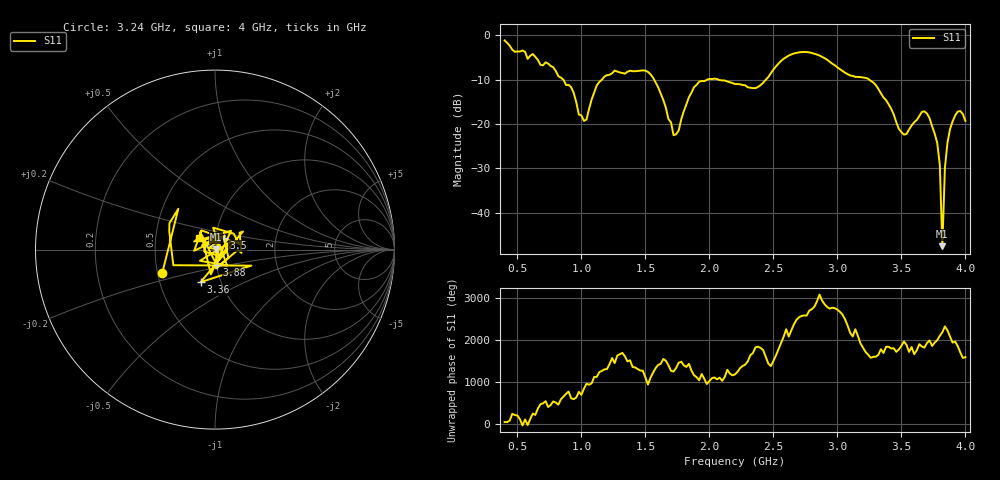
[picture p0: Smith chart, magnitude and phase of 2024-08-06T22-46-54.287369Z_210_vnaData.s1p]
!Created with skrf (http://scikit-rf.org).
# Hz S RI R 50.0
!freq ReS11 ImS11
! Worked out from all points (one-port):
!   181 points, 400 MHz to 4 GHz, reference 50 ohm
!   lowest |S11| = -47.5 dB at 3.82 GHz (marker M1), VSWR 1.01, Z = 50.4 + j0.145 ohm
!   |S11| at or under -10 dB: 1.568 GHz to 1.987 GHz (419.6 MHz wide, 23.6 % of centre); 2.069 GHz to 2.442 GHz (372.8 MHz wide, 16.5 % of centre); 3.248 GHz to end of sweep (the widest 3 of 4)
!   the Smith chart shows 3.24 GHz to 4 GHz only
!   S11 on the Smith chart (normalised r, x): 3.24 GHz: 0.53, -0.16; 3.36 GHz: 0.80, -0.30; 3.5 GHz: 1.09, +0.14; 3.88 GHz: 1.00, -0.18; 4 GHz: 0.83, +0.11
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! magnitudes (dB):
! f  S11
! 400 MHz  -1.2
! 860 MHz  -10.1
! 920 MHz  -11.7
! 1.02 GHz  -19.3
! 1.12 GHz  -11.3
! 1.3 GHz  -8.4
! 1.54 GHz  -8.8
! 1.64 GHz  -14.6
! 1.72 GHz  -22.5
! 1.76 GHz  -21.5
! 1.84 GHz  -14.0
! 1.92 GHz  -10.5
! 2.2 GHz  -11.0
! 2.38 GHz  -11.7
! 2.66 GHz  -4.1
! 3.1 GHz  -9.1
! 3.24 GHz  -9.8
! 3.36 GHz  -14.0
! 3.5 GHz  -21.8
! 3.56 GHz  -21.2
! 3.68 GHz  -17.1
! 3.76 GHz  -22.1
! 3.8 GHz  -29.1
! 3.82 GHz  -47.5
! 3.84 GHz  -29.9
! 3.88 GHz  -21.1
! 3.94 GHz  -17.2
! 4 GHz  -19.3
